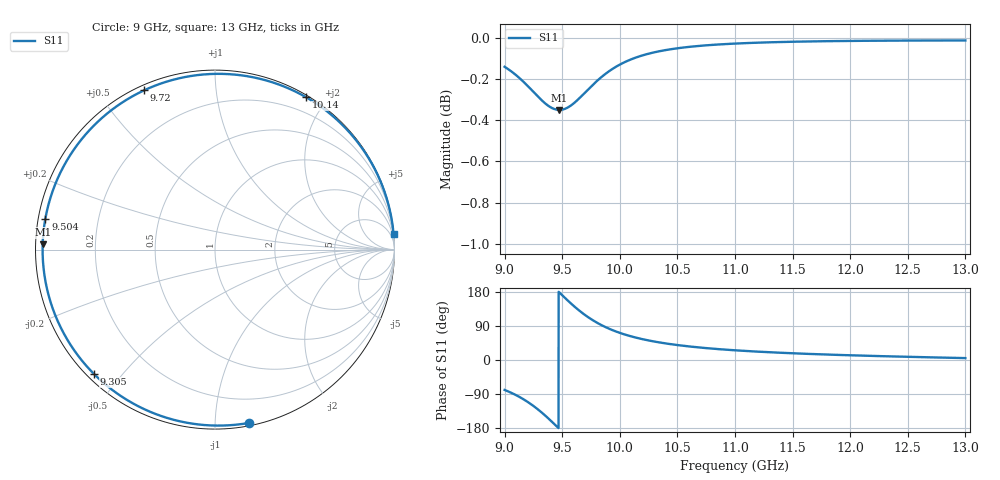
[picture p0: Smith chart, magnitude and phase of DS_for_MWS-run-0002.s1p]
! TOUCHSTONE file generated by CST DESIGN STUDIO
! Date and time: Tue Feb  4 13:37:40 2025
! Project name: C:\Work\MatlabApps\UnitCellOptimizationMatlab\CST\unitcell.cst
! Tree item: Tasks\Sweep1\SPara1\S-Parameters
! Header version: 2024
! Port assignment regex: !\s*Touchstone port\s*([0-9]+)\s*=\s*(CST MWS port|CST DES external port|CST DES block port)\s*(.+)\s* \(\"(.*)\"\)(\s*mode\s*([0-9]+))?.*
! Touchstone port assignment:
! Touchstone port 1 = CST DES external port 1 ("")
# GHz S MA R 50
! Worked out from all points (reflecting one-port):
!   4001 points, 9 GHz to 13 GHz, reference 50 ohm
!   lowest |S11| = -0.3 dB at 9.475 GHz (marker M1), VSWR 49.73, Z = 1.01 + j0.79 ohm
!   phase of S11 starts at -79 deg and turns -276 deg over the sweep
!   S11 on the Smith chart (normalised r, x): 9 GHz: 0.02, -1.21; 9.305 GHz: 0.02, -0.42; 9.504 GHz: 0.02, +0.09; 9.72 GHz: 0.02, +0.65; 10.14 GHz: 0.02, +1.76; 13 GHz: 0, +23
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9  0.984 -79.0
9.076  0.9806 -89.1
9.173  0.9753 -105.3
9.241  0.9709 -119.2
9.305  0.9668 -134.3
9.35  0.9642 -146.0
9.397  0.9621 -159.0
9.437  0.9609 -170.6
9.475  0.9606 178.2
9.5  0.9607 170.8
9.504  0.9608 169.7
9.556  0.9621 154.7
9.616  0.965 138.4
9.667  0.968 125.8
9.72  0.9713 114.0
9.776  0.9748 103.0
9.838  0.9783 92.5
9.918  0.9821 81.1
10  0.9852 71.6
10.139  0.9891 59.1
10.302  0.9921 48.6
10.5  0.9943 39.4
10.722  0.9958 32.1
11  0.9969 25.6
11.5  0.9979 17.7
12  0.9984 12.4
12.5  0.9986 8.4
13  0.9986 5.0
